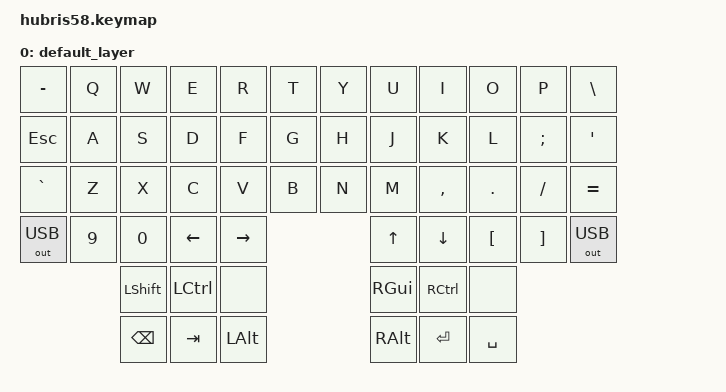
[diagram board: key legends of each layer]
#include <behaviors.dtsi>
#include <dt-bindings/zmk/keys.h>
#include <dt-bindings/zmk/bt.h>
#include <dt-bindings/zmk/ext_power.h>
#include <dt-bindings/zmk/outputs.h>

/ {

    // Top Row
    //RC(0,5) RC(0,4) RC(0,3) RC(0,2) RC(0,1) RC(0,0)    RC(0,6) RC(0,7) RC(0,8) RC(0,9) RC(0,10) RC(0,11)
    // Middle Row
    //RC(1,5) RC(1,4) RC(1,3) RC(1,2) RC(1,1) RC(1,0)    RC(1,6) RC(1,7) RC(1,8) RC(1,9) RC(1,10) RC(1,11)
    // Bottom Row
    //RC(2,5) RC(2,4) RC(2,3) RC(2,2) RC(2,1) RC(2,0)    RC(2,6) RC(2,7) RC(2,8) RC(2,9) RC(2,10) RC(2,11)
    // Extra Bottom Row
    //RC(3,5) RC(3,4) RC(3,3) RC(3,2) RC(3,1)                    RC(3,7) RC(3,8) RC(3,9) RC(3,10) RC(3,11)
    // Thumb
                            //RC(4,0) RC(4,2) RC(4,4)    RC(4,10) RC(4,8) RC(4,6) 
                            //RC(4,1) RC(4,3) RC(4,5)    RC(4,11) RC(4,9) RC(4,7)
    keymap {
        compatible = "zmk,keymap";
        
        default_layer {
            bindings = <
                &kp MINUS  &kp Q       &kp W       &kp E      &kp R      &kp T    &kp Y  &kp U     &kp I      &kp O      &kp P     &kp BSLH
                &kp ESC    &kp A       &kp S       &kp D      &kp F      &kp G    &kp H  &kp J     &kp K      &kp L      &kp SEMI  &kp SQT
                &kp GRAVE  &kp Z       &kp X       &kp C      &kp V      &kp B    &kp N  &kp M     &kp COMMA  &kp DOT    &kp FSLH  &kp EQUAL
                &out OUT_USB      &kp N9  &kp N0  &kp LEFT   &kp RIGHT                  &kp UP    &kp DOWN   &kp LBKT   &kp RBKT  &out OUT_USB
                                       &kp LSHFT   &kp LCTRL  &none                      &kp RGUI  &kp RCTRL  &none
                                       &kp BSPC    &kp TAB    &kp LALT                   &kp RALT  &kp RET    &kp SPACE
            >;
        };
    };
};

